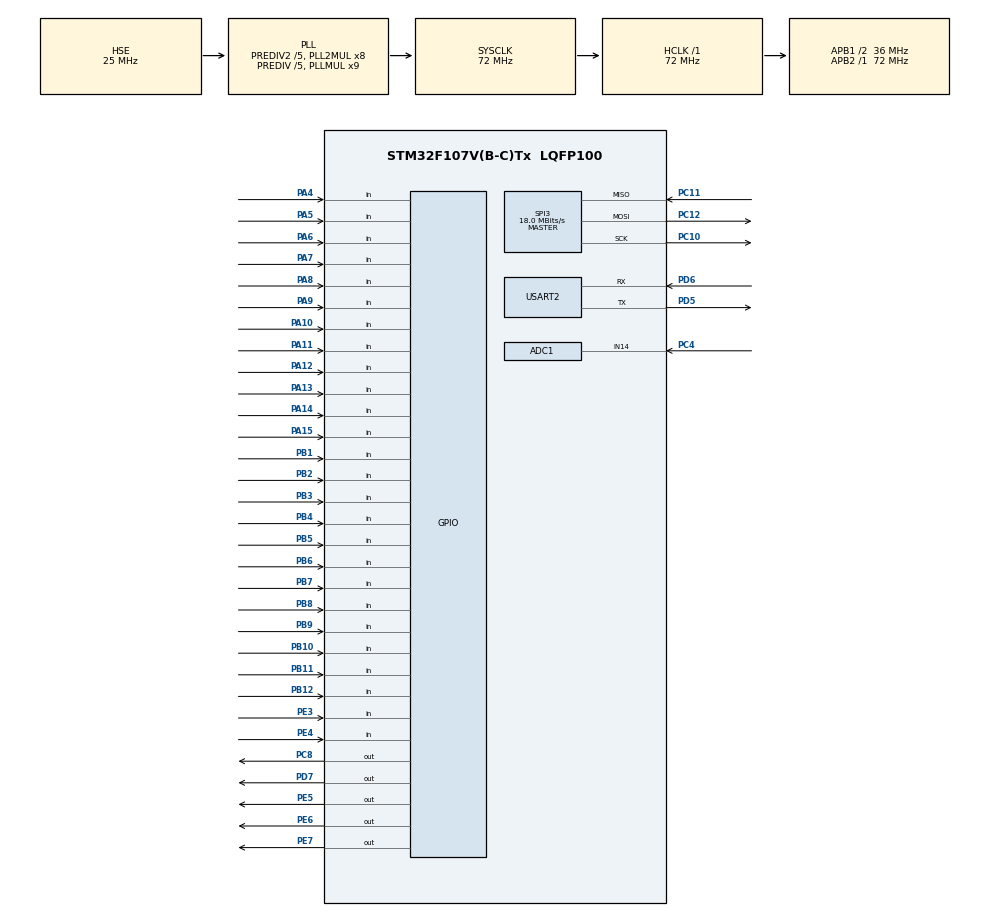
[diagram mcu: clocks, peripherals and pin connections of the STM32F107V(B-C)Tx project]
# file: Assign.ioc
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ADC1.Channel-0\#ChannelRegularConversion=ADC_CHANNEL_14
ADC1.ContinuousConvMode=ENABLE
ADC1.NbrOfConversionFlag=1
ADC1.Rank-0\#ChannelRegularConversion=1
ADC1.SamplingTime-0\#ChannelRegularConversion=ADC_SAMPLETIME_1CYCLE_5
ADC1.master=1
Mcu.Family=STM32F1
Mcu.Name=STM32F107V(B-C)Tx
Mcu.Package=LQFP100
NVIC.PriorityGroup=NVIC_PRIORITYGROUP_4
NVIC.TIM1_UP_IRQn=true\:1\:0\:true\:false\:true\:true
OSC_IN.Mode=HSE-External-Oscillator
OSC_IN.Signal=RCC_OSC_IN
OSC_OUT.Mode=HSE-External-Oscillator
OSC_OUT.Signal=RCC_OSC_OUT
PA10.Signal=GPIO_Input
PA11.Signal=GPIO_Input
PA12.Signal=GPIO_Input
PA13.Signal=GPIO_Input
PA14.Signal=GPIO_Input
PA15.Signal=GPIO_Input
PA4.Signal=GPIO_Input
PA5.Signal=GPIO_Input
PA6.Signal=GPIO_Input
PA7.Signal=GPIO_Input
PA8.Signal=GPIO_Input
PA9.Signal=GPIO_Input
PB1.Signal=GPIO_Input
PB10.Signal=GPIO_Input
PB11.Signal=GPIO_Input
PB12.Signal=GPIO_Input
PB2.Signal=GPIO_Input
PB3.Signal=GPIO_Input
PB4.Signal=GPIO_Input
PB5.Signal=GPIO_Input
PB6.Signal=GPIO_Input
PB7.Signal=GPIO_Input
PB8.Signal=GPIO_Input
PB9.Signal=GPIO_Input
PC10.Mode=Full_Duplex_Master
PC10.Signal=SPI3_SCK
PC11.Mode=Full_Duplex_Master
PC11.Signal=SPI3_MISO
PC12.Mode=Full_Duplex_Master
PC12.Signal=SPI3_MOSI
PC4.Signal=ADCx_IN14
PC8.Signal=GPIO_Output
PD5.Mode=Asynchronous
PD5.Signal=USART2_TX
PD6.Mode=Asynchronous
PD6.Signal=USART2_RX
PD7.Signal=GPIO_Output
PE3.Signal=GPIO_Input
PE4.Signal=GPIO_Input
PE5.Signal=GPIO_Output
PE6.Signal=GPIO_Output
PE7.Signal=GPIO_Output
ProjectManager.HeapSize=0x200
ProjectManager.StackSize=0x400
ProjectManager.TargetToolchain=MDK-ARM V5
RCC.ADCPresc=RCC_ADCPCLK2_DIV6
RCC.AHBFreq_Value=72000000
RCC.APB1CLKDivider=RCC_HCLK_DIV2
RCC.APB1Freq_Value=36000000
RCC.APB1TimFreq_Value=72000000
RCC.APB2Freq_Value=72000000
RCC.APB2TimFreq_Value=72000000
RCC.HCLKFreq_Value=72000000
RCC.HSEDivPLL=RCC_HSE_PREDIV_DIV5
RCC.HSE_VALUE=25000000
RCC.PLLMUL=RCC_PLL_MUL9
RCC.PLLSourceVirtual=RCC_PLLSOURCE_HSE
RCC.Prediv1Source=RCC_PREDIV1_SOURCE_PLL2
RCC.Prediv2=RCC_HSE_PREDIV2_DIV5
RCC.SYSCLKFreq_VALUE=72000000
RCC.SYSCLKSource=RCC_SYSCLKSOURCE_PLLCLK
RCC.USBFreq_Value=48000000
SH.ADCx_IN14.0=ADC1_IN14,IN14
SPI3.CLKPhase=SPI_PHASE_2EDGE
SPI3.CLKPolarity=SPI_POLARITY_HIGH
SPI3.CalculateBaudRate=18.0 MBits/s
SPI3.Direction=SPI_DIRECTION_2LINES
SPI3.Mode=SPI_MODE_MASTER
SPI3.VirtualType=VM_MASTER
TIM1.Period=1000-1
TIM1.Prescaler=72-1
USART2.VirtualMode=VM_ASYNC
VP_SYS_VS_ND.Mode=No_Debug
VP_TIM1_VS_ClockSourceINT.Mode=Internal
board=Assign

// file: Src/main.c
/**
  ******************************************************************************
  * File Name          : main.c
  * Description        : Main program body
  ******************************************************************************
  ** This notice applies to any and all portions of this file
  * that are not between comment pairs USER CODE BEGIN and
  * USER CODE END. Other portions of this file, whether
  * inserted by the user or by software development tools
  * are owned by their respective copyright owners.
  *
  * COPYRIGHT(c) 2018 STMicroelectronics
  *
  * Redistribution and use in source and binary forms, with or without modification,
  * are permitted provided that the following conditions are met:
  *   1. Redistributions of source code must retain the above copyright notice,
  *      this list of conditions and the following disclaimer.
  *   2. Redistributions in binary form must reproduce the above copyright notice,
  *      this list of conditions and the following disclaimer in the documentation
  *      and/or other materials provided with the distribution.
  *   3. Neither the name of STMicroelectronics nor the names of its contributors
  *      may be used to endorse or promote products derived from this software
  *      without specific prior written permission.
  *
  * THIS SOFTWARE IS PROVIDED BY THE COPYRIGHT HOLDERS AND CONTRIBUTORS "AS IS"
  * AND ANY EXPRESS OR IMPLIED WARRANTIES, INCLUDING, BUT NOT LIMITED TO, THE
  * IMPLIED WARRANTIES OF MERCHANTABILITY AND FITNESS FOR A PARTICULAR PURPOSE ARE
  * DISCLAIMED. IN NO EVENT SHALL THE COPYRIGHT HOLDER OR CONTRIBUTORS BE LIABLE
  * FOR ANY DIRECT, INDIRECT, INCIDENTAL, SPECIAL, EXEMPLARY, OR CONSEQUENTIAL
  * DAMAGES (INCLUDING, BUT NOT LIMITED TO, PROCUREMENT OF SUBSTITUTE GOODS OR
  * SERVICES; LOSS OF USE, DATA, OR PROFITS; OR BUSINESS INTERRUPTION) HOWEVER
  * CAUSED AND ON ANY THEORY OF LIABILITY, WHETHER IN CONTRACT, STRICT LIABILITY,
  * OR TORT (INCLUDING NEGLIGENCE OR OTHERWISE) ARISING IN ANY WAY OUT OF THE USE
  * OF THIS SOFTWARE, EVEN IF ADVISED OF THE POSSIBILITY OF SUCH DAMAGE.
  *
  ******************************************************************************
  */

#include "main.h"
#include "stm32f1xx_hal.h"

/* USER CODE BEGIN Includes */
#include "et_stm32f_arm_kit_lcd.h"
#include <string.h>
	int noteon = 144;
	int noteoff = 128;
	int note = 0;
	int volume=0;
	//int velocity = 0;
/* USER CODE END Includes */

ADC_HandleTypeDef hadc1;

SPI_HandleTypeDef hspi3;

TIM_HandleTypeDef htim1;

UART_HandleTypeDef huart2;

/* USER CODE BEGIN PV */
/* Private variables ---------------------------------------------------------*/

/* USER CODE END PV */

void SystemClock_Config(void);
static void MX_GPIO_Init(void);
static void MX_USART2_UART_Init(void);
static void MX_TIM1_Init(void);
static void MX_SPI3_Init(void);
static void MX_ADC1_Init(void);

/* USER CODE BEGIN PFP */
/* Private function prototypes -----------------------------------------------*/

/* USER CODE END PFP */

/* USER CODE BEGIN 0 */
int count=0;
int bufferKey[5]={0,0,0,0,0};
int keyIndex=0; //------------------------------------------------check current key index

int checkBuffer(int index,int key){
		for(int i=0;i<index;i++){
			if(bufferKey[i]==key)return 0;
		}
		return 1;
}
int bufferIsEmpty(){
		for(int i=0;i<5;i++){
			if(bufferKey[i]!=0)return 0;
		}
		return 1;
}
int clearBuffer(){
		for(int i=0;i<5;i++){
			bufferKey[i]=0;
		}
}
void playSound(int note,int vol){
	char aa[]="";
	char bb[]="";
	char cc[]="";

	aa[0] = noteon;
	bb[0] = note;
	cc[0] = vol;

	HAL_UART_Transmit(&huart2, (uint8_t*)aa,strlen(aa),100);
	HAL_UART_Transmit(&huart2, (uint8_t*)bb,strlen(bb),100);
	HAL_UART_Transmit(&huart2, (uint8_t*)cc,strlen(cc),100);

}

void offSound(int note , int vol){
	char bb[]="";
	char cc[]="";
	char dd[]="";

	dd[0] = noteoff;
	bb[0] = note;
	cc[0] = vol;

	HAL_UART_Transmit(&huart2, (uint8_t*)dd,strlen(dd),100);
	HAL_UART_Transmit(&huart2, (uint8_t*)bb,strlen(bb),100);
	HAL_UART_Transmit(&huart2, (uint8_t*)cc,strlen(cc),100);

}
void playAllSound(int volume){
	for(int i=0;i<5;i++){
		if(bufferKey[i]!=0) playSound(bufferKey[i],volume);
	}
}
void offAllSound(int volume){
	for(int i=0;i<5;i++){
		if(bufferKey[i]!=0) offSound(bufferKey[i],volume);
	}
}

int changeVol(int level){
			if(level<=1){
				volume = 5;
			}
			else if(level==2){
				volume =15;
			}
			else if(level==3){
				volume =25;
			}
			else if(level==4){
				volume =35;
			}
			else if(level==5){
				volume =45;
			}
			else if(level==6){
				volume =55;
			}
			else if(level==7){
				volume =70;
			}
			else if(level==8){
				volume =85;
			}
			else if(level==9){
				volume =100;
			}

}
void drawButton(uint16_t color,int xpos,int ypos,int w,int h){
	int temp=xpos,temp2=ypos;
	LCD_SetBackColor(color);
		do{
		do{
			LCD_DisplayChar(ypos,xpos,' ');
			xpos-=16;
		}while(xpos>=temp-(16*w));
		ypos+=21;
		xpos=temp;
	}while(ypos<temp2+(21*h));

}
/* USER CODE END 0 */

int main(void)
{

  /* USER CODE BEGIN 1 */
		uint16_t posX, posY;
    uint16_t color;
		char pos[50];
  /* USER CODE END 1 */

  /* MCU Configuration----------------------------------------------------------*/

  /* Reset of all peripherals, Initializes the Flash interface and the Systick. */
  HAL_Init();

  /* Configure the system clock */
  SystemClock_Config();

  /* Initialize all configured peripherals */
  MX_GPIO_Init();
  MX_USART2_UART_Init();
  MX_TIM1_Init();
  MX_SPI3_Init();
  MX_ADC1_Init();

  /* USER CODE BEGIN 2 */
	volatile uint32_t adc_val;

	HAL_ADCEx_Calibration_Start(&hadc1);
	HAL_ADC_Start(&hadc1);
		int volume=0;
		int level = 0;
		LCD_Setup();

  /* USER CODE END 2 */

  /* Infinite loop */
  /* USER CODE BEGIN WHILE */
  int i= 320;
	int line=0;
	int menu=0; //Menu 0 ==Main Menu
	int j=320;

	int printed=0;
	HAL_TIM_Base_Start_IT (&htim1);

	while (1)
  {
//---------Read Position X&Y------------------
		posX = TCS_Read_X();
		posY = TCS_Read_Y();

		if(menu==0){
			if(printed==0){
			LCD_Clear(White);
			LCD_SetBackColor(Blue);
			LCD_SetTextColor(White);
			LCD_DisplayStringLine(Line0, "     MINI PIANO     ");
			LCD_SetBackColor(White);
			LCD_SetTextColor(Black);
			LCD_DisplayStringLine(Line2, "    Select  Menu    ");
			LCD_DisplayStringLine(Line7, " Instrument Game   ");
			drawButton(Red,270,90,5,3);
			drawButton(Red,140,90,5,3);
			LCD_SetBackColor(White);

			printed=1;
		}
				if(posX!=0&&posY!=0){
				if(posX>160&&posY>120){
					menu=1; //instrument
					LCD_Clear(White);
					printed=0;
					posX=0;
					posY=0;
				}
				if(posX<=160&&posY>120){
					color = Blue;
				}
			}
		}
		if(menu==1){
			if(printed==0){
				LCD_SetBackColor(Blue);
				LCD_SetTextColor(Black);
				LCD_DisplayStringLine(Line0, " Select Instrument  ");
				LCD_SetBackColor(White);
				LCD_DisplayStringLine(Line1, "    Ins1    Ins2    ");
				LCD_DisplayStringLine(Line5, "    Ins3    Ins4    ");
				drawButton(Red,270,50,5,3);
				drawButton(Red,140,50,5,3);
				drawButton(Red,270,145,5,3);
				drawButton(Red,140,145,5,3);
				LCD_SetBackColor(Green);
				LCD_SetTextColor(Black);
				LCD_DisplayStringLine(Line9, "        Back        ");
				LCD_SetBackColor(White);
				printed=1;
			}
		if(posX!=0&&posY!=0){
			if(posY>240-24){
				menu=0;
				printed=0;
			}
			if(posX>160&&posY<140&&posY>=16){
				LCD_Clear(Blue);
			}
			if(posX<=160&&posY<140&&posY>=16){
				LCD_Clear(Red);
			}
			if(posX>160&&posY>=140&&posY<240-24){
				LCD_Clear(Yellow);
			}
			if(posX<=160&&posY>=140&&posY<240-24){
				LCD_Clear(Green);
			}

		}
	}

  /* USER CODE END WHILE */

  /* USER CODE BEGIN 3 */
		while(HAL_ADC_PollForConversion(&hadc1,100)!=HAL_OK){}
//---------------Adjust Volumn---------------------------------
			adc_val=HAL_ADC_GetValue(&hadc1);
			int level=(adc_val*10)/4096;
			volume = changeVol(level);

//------------Check Key press-----------------------------------

			if(bufferKey[0]==0)count=0;
			if(HAL_GPIO_ReadPin(GPIOA,GPIO_PIN_4)==GPIO_PIN_SET&&checkBuffer(keyIndex,36)){
					bufferKey[keyIndex]=36;
					if(keyIndex<5-1) keyIndex++;
			}else
			if(HAL_GPIO_ReadPin(GPIOA,GPIO_PIN_5)==GPIO_PIN_SET&&checkBuffer(keyIndex,38)){
					bufferKey[keyIndex]=38;
					if(keyIndex<5-1) keyIndex++;
			}
			else
			if(HAL_GPIO_ReadPin(GPIOA,GPIO_PIN_6)==GPIO_PIN_SET&&checkBuffer(keyIndex,40)){
					bufferKey[keyIndex]=40;
					if(keyIndex<5-1) keyIndex++;
			}
			else
			if(HAL_GPIO_ReadPin(GPIOA,GPIO_PIN_7)==GPIO_PIN_SET&&checkBuffer(keyIndex,41)){
					bufferKey[keyIndex]=41;
					if(keyIndex<5-1) keyIndex++;
			}
			if(count>=50){
			playAllSound(volume);
			HAL_Delay(200);
			offAllSound(volume);
			count=0;
			clearBuffer();
			keyIndex=0;
			}

			/*
			char text[100]="";
			sprintf(text,"%d\n\r",count);
			while(__HAL_UART_GET_FLAG(&huart2,UART_FLAG_TC)==RESET){}
				HAL_UART_Transmit(&huart2,(uint8_t*)text,strlen(text),1000);
			*/

  /* USER CODE END 3 */

}
	}

/** System Clock Configuration
*/
void SystemClock_Config(void)
{

  RCC_OscInitTypeDef RCC_OscInitStruct;
  RCC_ClkInitTypeDef RCC_ClkInitStruct;
  RCC_PeriphCLKInitTypeDef PeriphClkInit;

    /**Initializes the CPU, AHB and APB busses clocks
    */
  RCC_OscInitStruct.OscillatorType = RCC_OSCILLATORTYPE_HSE;
  RCC_OscInitStruct.HSEState = RCC_HSE_ON;
  RCC_OscInitStruct.HSEPredivValue = RCC_HSE_PREDIV_DIV5;
  RCC_OscInitStruct.HSIState = RCC_HSI_ON;
  RCC_OscInitStruct.Prediv1Source = RCC_PREDIV1_SOURCE_PLL2;
  RCC_OscInitStruct.PLL.PLLState = RCC_PLL_ON;
  RCC_OscInitStruct.PLL.PLLSource = RCC_PLLSOURCE_HSE;
  RCC_OscInitStruct.PLL.PLLMUL = RCC_PLL_MUL9;
  RCC_OscInitStruct.PLL2.PLL2State = RCC_PLL2_ON;
  RCC_OscInitStruct.PLL2.PLL2MUL = RCC_PLL2_MUL8;
  RCC_OscInitStruct.PLL2.HSEPrediv2Value = RCC_HSE_PREDIV2_DIV5;
  if (HAL_RCC_OscConfig(&RCC_OscInitStruct) != HAL_OK)
  {
    _Error_Handler(__FILE__, __LINE__);
  }

    /**Initializes the CPU, AHB and APB busses clocks
    */
  RCC_ClkInitStruct.ClockType = RCC_CLOCKTYPE_HCLK|RCC_CLOCKTYPE_SYSCLK
                              |RCC_CLOCKTYPE_PCLK1|RCC_CLOCKTYPE_PCLK2;
  RCC_ClkInitStruct.SYSCLKSource = RCC_SYSCLKSOURCE_PLLCLK;
  RCC_ClkInitStruct.AHBCLKDivider = RCC_SYSCLK_DIV1;
  RCC_ClkInitStruct.APB1CLKDivider = RCC_HCLK_DIV2;
  RCC_ClkInitStruct.APB2CLKDivider = RCC_HCLK_DIV1;

  if (HAL_RCC_ClockConfig(&RCC_ClkInitStruct, FLASH_LATENCY_2) != HAL_OK)
  {
    _Error_Handler(__FILE__, __LINE__);
  }

  PeriphClkInit.PeriphClockSelection = RCC_PERIPHCLK_ADC;
  PeriphClkInit.AdcClockSelection = RCC_ADCPCLK2_DIV6;
  if (HAL_RCCEx_PeriphCLKConfig(&PeriphClkInit) != HAL_OK)
  {
    _Error_Handler(__FILE__, __LINE__);
  }

    /**Configure the Systick interrupt time
    */
  HAL_SYSTICK_Config(HAL_RCC_GetHCLKFreq()/1000);

    /**Configure the Systick
    */
  HAL_SYSTICK_CLKSourceConfig(SYSTICK_CLKSOURCE_HCLK);

    /**Configure the Systick interrupt time
    */
  __HAL_RCC_PLLI2S_ENABLE();

  /* SysTick_IRQn interrupt configuration */
  HAL_NVIC_SetPriority(SysTick_IRQn, 0, 0);
}

/* ADC1 init function */
static void MX_ADC1_Init(void)
{

  ADC_ChannelConfTypeDef sConfig;

    /**Common config
    */
  hadc1.Instance = ADC1;
  hadc1.Init.ScanConvMode = ADC_SCAN_DISABLE;
  hadc1.Init.ContinuousConvMode = ENABLE;
  hadc1.Init.DiscontinuousConvMode = DISABLE;
  hadc1.Init.ExternalTrigConv = ADC_SOFTWARE_START;
  hadc1.Init.DataAlign = ADC_DATAALIGN_RIGHT;
  hadc1.Init.NbrOfConversion = 1;
  if (HAL_ADC_Init(&hadc1) != HAL_OK)
  {
    _Error_Handler(__FILE__, __LINE__);
  }

    /**Configure Regular Channel
    */
  sConfig.Channel = ADC_CHANNEL_14;
  sConfig.Rank = 1;
  sConfig.SamplingTime = ADC_SAMPLETIME_1CYCLE_5;
  if (HAL_ADC_ConfigChannel(&hadc1, &sConfig) != HAL_OK)
  {
    _Error_Handler(__FILE__, __LINE__);
  }

}

/* SPI3 init function */
static void MX_SPI3_Init(void)
{

  /* SPI3 parameter configuration*/
  hspi3.Instance = SPI3;
  hspi3.Init.Mode = SPI_MODE_MASTER;
  hspi3.Init.Direction = SPI_DIRECTION_2LINES;
  hspi3.Init.DataSize = SPI_DATASIZE_8BIT;
  hspi3.Init.CLKPolarity = SPI_POLARITY_HIGH;
  hspi3.Init.CLKPhase = SPI_PHASE_2EDGE;
  hspi3.Init.NSS = SPI_NSS_SOFT;
  hspi3.Init.BaudRatePrescaler = SPI_BAUDRATEPRESCALER_2;
  hspi3.Init.FirstBit = SPI_FIRSTBIT_MSB;
  hspi3.Init.TIMode = SPI_TIMODE_DISABLE;
  hspi3.Init.CRCCalculation = SPI_CRCCALCULATION_DISABLE;
  hspi3.Init.CRCPolynomial = 10;
  if (HAL_SPI_Init(&hspi3) != HAL_OK)
  {
    _Error_Handler(__FILE__, __LINE__);
  }

}

/* TIM1 init function */
static void MX_TIM1_Init(void)
{

  TIM_ClockConfigTypeDef sClockSourceConfig;
  TIM_MasterConfigTypeDef sMasterConfig;

  htim1.Instance = TIM1;
  htim1.Init.Prescaler = 72-1;
  htim1.Init.CounterMode = TIM_COUNTERMODE_UP;
  htim1.Init.Period = 1000-1;
  htim1.Init.ClockDivision = TIM_CLOCKDIVISION_DIV1;
  htim1.Init.RepetitionCounter = 0;
  htim1.Init.AutoReloadPreload = TIM_AUTORELOAD_PRELOAD_DISABLE;
  if (HAL_TIM_Base_Init(&htim1) != HAL_OK)
  {
    _Error_Handler(__FILE__, __LINE__);
  }

  sClockSourceConfig.ClockSource = TIM_CLOCKSOURCE_INTERNAL;
  if (HAL_TIM_ConfigClockSource(&htim1, &sClockSourceConfig) != HAL_OK)
  {
    _Error_Handler(__FILE__, __LINE__);
  }

  sMasterConfig.MasterOutputTrigger = TIM_TRGO_RESET;
  sMasterConfig.MasterSlaveMode = TIM_MASTERSLAVEMODE_DISABLE;
  if (HAL_TIMEx_MasterConfigSynchronization(&htim1, &sMasterConfig) != HAL_OK)
  {
    _Error_Handler(__FILE__, __LINE__);
  }

}

/* USART2 init function */
static void MX_USART2_UART_Init(void)
{

  huart2.Instance = USART2;
  huart2.Init.BaudRate = 115200;
  huart2.Init.WordLength = UART_WORDLENGTH_8B;
  huart2.Init.StopBits = UART_STOPBITS_1;
  huart2.Init.Parity = UART_PARITY_NONE;
  huart2.Init.Mode = UART_MODE_TX_RX;
  huart2.Init.HwFlowCtl = UART_HWCONTROL_NONE;
  huart2.Init.OverSampling = UART_OVERSAMPLING_16;
  if (HAL_UART_Init(&huart2) != HAL_OK)
  {
    _Error_Handler(__FILE__, __LINE__);
  }

}

/** Configure pins as
        * Analog
        * Input
        * Output
        * EVENT_OUT
        * EXTI
*/
static void MX_GPIO_Init(void)
{

  GPIO_InitTypeDef GPIO_InitStruct;

  /* GPIO Ports Clock Enable */
  __HAL_RCC_GPIOE_CLK_ENABLE();
  __HAL_RCC_GPIOA_CLK_ENABLE();
  __HAL_RCC_GPIOC_CLK_ENABLE();
  __HAL_RCC_GPIOB_CLK_ENABLE();
  __HAL_RCC_GPIOD_CLK_ENABLE();

  /*Configure GPIO pin Output Level */
  HAL_GPIO_WritePin(GPIOE, GPIO_PIN_5|GPIO_PIN_6|GPIO_PIN_7, GPIO_PIN_RESET);

  /*Configure GPIO pin Output Level */
  HAL_GPIO_WritePin(GPIOC, GPIO_PIN_8, GPIO_PIN_RESET);

  /*Configure GPIO pin Output Level */
  HAL_GPIO_WritePin(GPIOD, GPIO_PIN_7, GPIO_PIN_RESET);

  /*Configure GPIO pins : PE3 PE4 */
  GPIO_InitStruct.Pin = GPIO_PIN_3|GPIO_PIN_4;
  GPIO_InitStruct.Mode = GPIO_MODE_INPUT;
  GPIO_InitStruct.Pull = GPIO_NOPULL;
  HAL_GPIO_Init(GPIOE, &GPIO_InitStruct);

  /*Configure GPIO pins : PE5 PE6 PE7 */
  GPIO_InitStruct.Pin = GPIO_PIN_5|GPIO_PIN_6|GPIO_PIN_7;
  GPIO_InitStruct.Mode = GPIO_MODE_OUTPUT_PP;
  GPIO_InitStruct.Speed = GPIO_SPEED_FREQ_LOW;
  HAL_GPIO_Init(GPIOE, &GPIO_InitStruct);

  /*Configure GPIO pins : PA4 PA5 PA6 PA7
                           PA8 PA9 PA10 PA11
                           PA12 PA13 PA14 PA15 */
  GPIO_InitStruct.Pin = GPIO_PIN_4|GPIO_PIN_5|GPIO_PIN_6|GPIO_PIN_7
                          |GPIO_PIN_8|GPIO_PIN_9|GPIO_PIN_10|GPIO_PIN_11
                          |GPIO_PIN_12|GPIO_PIN_13|GPIO_PIN_14|GPIO_PIN_15;
  GPIO_InitStruct.Mode = GPIO_MODE_INPUT;
  GPIO_InitStruct.Pull = GPIO_NOPULL;
  HAL_GPIO_Init(GPIOA, &GPIO_InitStruct);

  /*Configure GPIO pins : PB1 PB2 PB10 PB11
                           PB12 PB3 PB4 PB5
                           PB6 PB7 PB8 PB9 */
  GPIO_InitStruct.Pin = GPIO_PIN_1|GPIO_PIN_2|GPIO_PIN_10|GPIO_PIN_11
                          |GPIO_PIN_12|GPIO_PIN_3|GPIO_PIN_4|GPIO_PIN_5
                          |GPIO_PIN_6|GPIO_PIN_7|GPIO_PIN_8|GPIO_PIN_9;
  GPIO_InitStruct.Mode = GPIO_MODE_INPUT;
  GPIO_InitStruct.Pull = GPIO_NOPULL;
  HAL_GPIO_Init(GPIOB, &GPIO_InitStruct);

  /*Configure GPIO pin : PC8 */
  GPIO_InitStruct.Pin = GPIO_PIN_8;
  GPIO_InitStruct.Mode = GPIO_MODE_OUTPUT_PP;
  GPIO_InitStruct.Speed = GPIO_SPEED_FREQ_LOW;
  HAL_GPIO_Init(GPIOC, &GPIO_InitStruct);

  /*Configure GPIO pin : PD7 */
  GPIO_InitStruct.Pin = GPIO_PIN_7;
  GPIO_InitStruct.Mode = GPIO_MODE_OUTPUT_PP;
  GPIO_InitStruct.Speed = GPIO_SPEED_FREQ_LOW;
  HAL_GPIO_Init(GPIOD, &GPIO_InitStruct);

}

void _Error_Handler(char * file, int line)
{
  while(1)
  {
  }
}

/************************ (C) COPYRIGHT STMicroelectronics *****END OF FILE****/
